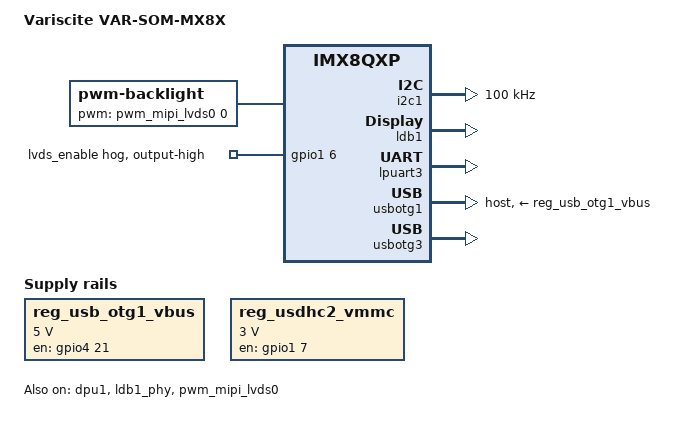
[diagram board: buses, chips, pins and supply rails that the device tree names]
// SPDX-License-Identifier: GPL-2.0+
/*
 * Copyright 2017-2018 NXP
 * Copyright 2019-2022 Variscite Ltd.
 */

/dts-v1/;

#include "imx8qxp-var-som.dtsi"

/ {
	model = "Variscite VAR-SOM-MX8X";
	compatible = "variscite,var-som-mx8x", "fsl,imx8qxp";

	aliases {
		gpio8 = &pca9534;
	};

	chosen {
		stdout-path = &lpuart3;
	};

	backlight: backlight {
		compatible = "pwm-backlight";
		pwms = <&pwm_mipi_lvds0 0 100000 0>;

		brightness-levels = < 0  1  2  3  4  5  6  7  8  9
				     10 11 12 13 14 15 16 17 18 19
				     20 21 22 23 24 25 26 27 28 29
				     30 31 32 33 34 35 36 37 38 39
				     40 41 42 43 44 45 46 47 48 49
				     50 51 52 53 54 55 56 57 58 59
				     60 61 62 63 64 65 66 67 68 69
				     70 71 72 73 74 75 76 77 78 79
				     80 81 82 83 84 85 86 87 88 89
				     90 91 92 93 94 95 96 97 98 99
				    100>;
		default-brightness-level = <80>;
		status = "okay";
	};

	regulators {
		reg_usb_otg1_vbus: regulator-usb-otg1-vbus {
			compatible = "regulator-fixed";
			regulator-name = "usb_otg1_vbus";
			regulator-min-microvolt = <5000000>;
			regulator-max-microvolt = <5000000>;
			gpio = <&gpio4 21 GPIO_ACTIVE_HIGH>;
			enable-active-high;
		};

		reg_usdhc2_vmmc: usdhc2_vmmc {
			compatible = "regulator-fixed";
			regulator-name = "reg_sd_pwr";
			regulator-min-microvolt = <3000000>;
			regulator-max-microvolt = <3000000>;
			gpio = <&gpio1 7 GPIO_ACTIVE_HIGH>;
			enable-active-high;
			startup-delay-us = <100>;
			off-on-delay-us = <12000>;
		};
	};
};

&dpu1 {
	status = "okay";
};
&fec2 {
	pinctrl-names = "default";
//	pinctrl-0 = <&pinctrl_fec2>;
	phy-mode = "rgmii-rxid";
//	phy-handle = <&ethphy1>;
//	fsl,ar8031-phy-fixup;
//	fsl,magic-packet;
	status = "disabled";
//	phy-reset-gpios = <&pca9534 5 GPIO_ACTIVE_LOW>;
//	phy-reset-duration = <10>;
//	phy-reset-post-delay = <100>;
};

&gpio1 {
	pinctrl-names = "default";
	pinctrl-0 = <&pinctrl_backlight>;

	lvds_enable_hog {
		gpio-hog;
		gpios = <6 0>;
		output-high;
		line-name = "lvds_enable";
	};
};

&i2c1 {
	#address-cells = <1>;
	#size-cells = <0>;
	clock-frequency = <100000>;
	pinctrl-names = "default";
	pinctrl-0 = <&pinctrl_lpi2c1>;
	status = "okay";

	/* GPIO expander */
	pca9534: gpio@20 {
		compatible = "nxp,pca9534";
		reg = <0x20>;
		gpio-controller;
		#gpio-cells = <2>;
		status = "disabled";

		usb3_sel_hog {
			gpio-hog;
			gpios = <4 0>;
			output-low;
			line-name = "usb3_sel";
		};

		eth1_phy_vsel_hog {
			gpio-hog;
			gpios = <6 0>;
			output-high;
			line-name = "eth1_phy_vsel";
		};

		eth1_phy_pwr_hog {
			gpio-hog;
			gpios = <7 0>;
			output-high;
			line-name = "eth1_phy_pwr";
		};
	};
};

&iomuxc {
	imx8qxp-var-som {
		pinctrl_backlight: backlightgrp {
			fsl,pins = <
				SC_P_SPI0_SDO_LSIO_GPIO1_IO06				0x00000020
				
			>;
		};
		
		pinctrl_pwm_mipi_lvds0: mipi_lvds0_pwm_grp {
			fsl,pins = <
			SC_P_SPI0_CS1_LSIO_GPIO1_IO07					0x00000020
			
		>;
	};
	
#if 0
//RD Not needed in Threatscan
		pinctrl_fec2: fec2grp {
			fsl,pins = <
				SC_P_ESAI0_SCKR_CONN_ENET1_RGMII_TX_CTL		0x00000060
				SC_P_ESAI0_FSR_CONN_ENET1_RGMII_TXC		0x00000060
				SC_P_ESAI0_TX4_RX1_CONN_ENET1_RGMII_TXD0	0x00000060
				SC_P_ESAI0_TX5_RX0_CONN_ENET1_RGMII_TXD1	0x00000060
				SC_P_ESAI0_FST_CONN_ENET1_RGMII_TXD2		0x00000060
				SC_P_ESAI0_SCKT_CONN_ENET1_RGMII_TXD3		0x00000060
				SC_P_ESAI0_TX0_CONN_ENET1_RGMII_RXC		0x00000060
				SC_P_SPDIF0_TX_CONN_ENET1_RGMII_RX_CTL		0x00000060
				SC_P_SPDIF0_RX_CONN_ENET1_RGMII_RXD0		0x00000060
				SC_P_ESAI0_TX3_RX2_CONN_ENET1_RGMII_RXD1	0x00000060
				SC_P_ESAI0_TX2_RX3_CONN_ENET1_RGMII_RXD2	0x00000060
				SC_P_ESAI0_TX1_CONN_ENET1_RGMII_RXD3		0x00000060
			>;
		};
#endif
		pinctrl_lpi2c1: lpi2c1grp {
			fsl,pins = <
				SC_P_USB_SS3_TC0_ADMA_I2C1_SCL			0x06000021
				SC_P_USB_SS3_TC2_ADMA_I2C1_SDA			0x06000021
			>;
		};

		pinctrl_lpuart3: lpuart3grp {
			fsl,pins = <
				SC_P_SCU_GPIO0_00_ADMA_UART3_RX			0x06000020
				SC_P_SCU_GPIO0_01_ADMA_UART3_TX			0x06000020
			>;
		};

		pinctrl_usb1otg: usb1otggrp {
			fsl,pins = <
				SC_P_USDHC1_WP_LSIO_GPIO4_IO21			0xC0000041
			>;
		};

		pinctrl_usdhc2_gpio: usdhc2gpiogrp {
			fsl,pins = <
				SC_P_USDHC1_CD_B_LSIO_GPIO4_IO22		0x00000021
//				SC_P_SPI0_CS1_LSIO_GPIO1_IO07			0x00000021
			>;
		};

		pinctrl_usdhc2: usdhc2grp {
			fsl,pins = <
				SC_P_USDHC1_CLK_CONN_USDHC1_CLK			0x06000041
				SC_P_USDHC1_CMD_CONN_USDHC1_CMD			0x00000021
				SC_P_USDHC1_DATA0_CONN_USDHC1_DATA0		0x00000021
				SC_P_USDHC1_DATA1_CONN_USDHC1_DATA1		0x00000021
				SC_P_USDHC1_DATA2_CONN_USDHC1_DATA2		0x00000021
				SC_P_USDHC1_DATA3_CONN_USDHC1_DATA3		0x00000021
				SC_P_USDHC1_VSELECT_CONN_USDHC1_VSELECT		0x00000021
			>;
		};
	};
};

&ldb1_phy {
	status = "okay";
};

&ldb1 {
	status = "okay";

	lvds-channel@0 {
//		fsl,data-mapping = "jeida";
		fsl,data-mapping = "spwg";
		fsl,data-width = <24>;
		backlight = <&backlight>;
		status = "okay";

		display-timings {
			native-mode = <&timing0>;

			timing0: timing0 {
				clock-frequency = <78566400>;
				hactive = <1360>;
				vactive = <768>;
				hback-porch = <50>;
				hfront-porch = <16>;
				vback-porch = <48>;
				vfront-porch = <80>;
				hsync-len = <18>;
				vsync-len = <32>;
				hsync-active = <0>;
				vsync-active = <0>;
				de-active = <1>;
				pixelclk-active = <0>;				
			};
		};
	};
	port@1 {
		reg = <1>;
	};
};


&pwm_mipi_lvds0 {
	pinctrl-names = "default";
	pinctrl-0 = <&pinctrl_pwm_mipi_lvds0>;
	status = "okay";
};


/* Console */
&lpuart3 {
	pinctrl-names = "default";
	pinctrl-0 = <&pinctrl_lpuart3>;
	status = "okay";
};

&usbotg1 {
	dr_mode = "host";
	pinctrl-names = "default";
	pinctrl-0 = <&pinctrl_usb1otg>;
	vbus-supply = <&reg_usb_otg1_vbus>;
	srp-disable;
	hnp-disable;
	adp-disable;
	power-polarity-active-high;
	disable-over-current;
	status = "okay";
};

&usbotg3 {
	status = "okay";
};

&usdhc2 {
	pinctrl-names = "default", "state_100mhz", "state_200mhz";
	pinctrl-0 = <&pinctrl_usdhc2>, <&pinctrl_usdhc2_gpio>;
	pinctrl-1 = <&pinctrl_usdhc2>, <&pinctrl_usdhc2_gpio>;
	pinctrl-2 = <&pinctrl_usdhc2>, <&pinctrl_usdhc2_gpio>;
	bus-width = <4>;
	cd-gpios = <&gpio4 22 GPIO_ACTIVE_LOW>;
	vmmc-supply = <&reg_usdhc2_vmmc>;
	no-1-8-v;
	status = "disabled";
};
